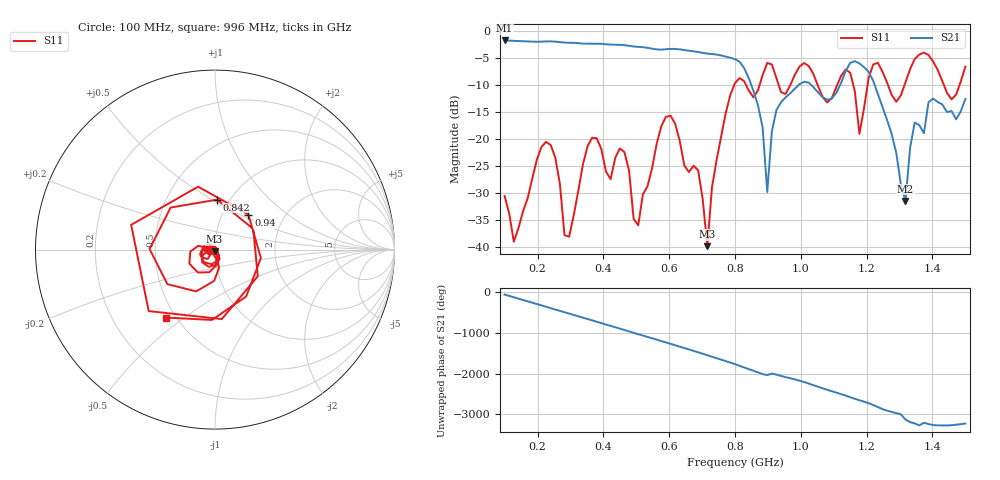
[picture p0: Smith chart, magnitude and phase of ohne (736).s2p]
! NanoVNA-App
! Date: 2025-09-25 14:26:32
! Start: 100MHz Stop: 1,5GHz Points: 101
! S-Parameter data: F S11 S21 S12 S22
# Hz S RI R 50
!  Frequency  S11_Real  S11_Imag  S21_Real  S21_Imag  S12_Real  S12_Imag  S22_Real  S22_Imag
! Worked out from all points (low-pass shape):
!   101 points, 100 MHz to 1.5 GHz, reference 50 ohm
!   highest |S21| = -1.79 dB at 100 MHz (marker M1); lowest = -31.6 dB at 1.318 GHz (marker M2)
!   |S21| within 3 dB of the highest: start of sweep to 771.8 MHz
!   lowest |S11| = -39.9 dB at 716 MHz (marker M3), VSWR 1.02, Z = 49.8 - j0.974 ohm
!   |S11| at or under -10 dB: start of sweep to 798 MHz; 833.2 MHz to 875.1 MHz (41.88 MHz wide, 4.9 % of centre); 1.051 GHz to 1.111 GHz (60.22 MHz wide, 5.57 % of centre) (the widest 3 of 7)
!   S12 and S22 are empty: the file has one direction only
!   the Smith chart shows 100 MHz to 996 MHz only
!   S11 on the Smith chart (normalised r, x): 100 MHz: 0.94, -0.01; 842 MHz: 0.88, +0.53; 940 MHz: 1.33, +0.56; 996 MHz: 0.45, -0.43
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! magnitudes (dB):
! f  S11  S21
! 100 MHz  -30.6  -1.8
! 128 MHz  -39.1  -1.9
! 226 MHz  -20.6  -2.0
! 296 MHz  -38.2  -2.2
! 338 MHz  -24.8  -2.4
! 464 MHz  -22.5  -2.7
! 506 MHz  -36.1  -3.0
! 576 MHz  -17.7  -3.5
! 688 MHz  -25.9  -3.9
! 716 MHz  -39.9  -4.2
! 800 MHz  -9.7  -5.3
! 842 MHz  -11.1  -8.8
! 898 MHz  -6.0  -29.9
! 940 MHz  -11.4  -13.2
! 996 MHz  -6.6  -9.9
! 1.038 GHz  -8.0  -10.4
! 1.178 GHz  -19.1  -6.0
! 1.22 GHz  -6.2  -9.3
! 1.276 GHz  -11.9  -19.1
! 1.318 GHz  -9.6  -31.6
! 1.346 GHz  -5.2  -17.0
! 1.5 GHz  -6.7  -12.6
